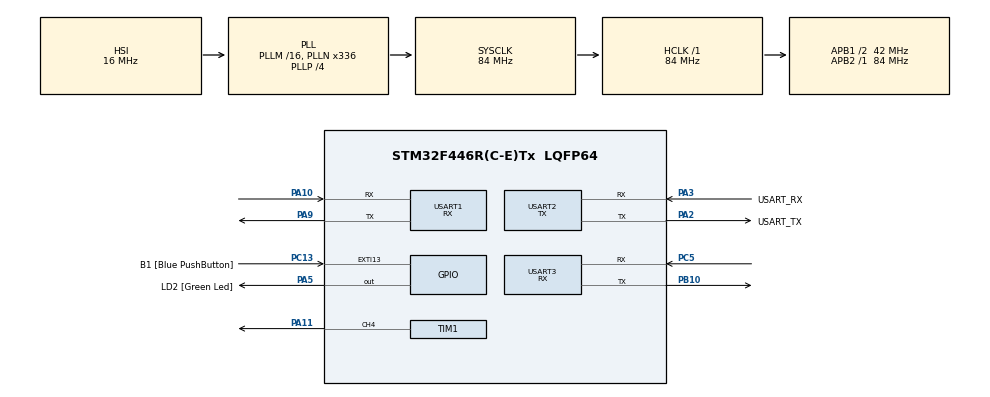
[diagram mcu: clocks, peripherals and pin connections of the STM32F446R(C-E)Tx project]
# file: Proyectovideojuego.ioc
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Mcu.Family=STM32F4
Mcu.Name=STM32F446R(C-E)Tx
Mcu.Package=LQFP64
NVIC.PriorityGroup=NVIC_PRIORITYGROUP_0
NVIC.USART3_IRQn=true\:0\:0\:false\:false\:true\:true\:true\:true
PA10.Mode=Asynchronous
PA10.Signal=USART1_RX
PA11.Signal=S_TIM1_CH4
PA13.GPIO_Label=TMS
PA13.Mode=Serial_Wire
PA13.Signal=SYS_JTMS-SWDIO
PA14.GPIO_Label=TCK
PA14.Mode=Serial_Wire
PA14.Signal=SYS_JTCK-SWCLK
PA2.GPIO_Label=USART_TX
PA2.Mode=Asynchronous
PA2.Signal=USART2_TX
PA3.GPIO_Label=USART_RX
PA3.Mode=Asynchronous
PA3.Signal=USART2_RX
PA5.GPIO_Label=LD2 [Green Led]
PA5.Signal=GPIO_Output
PA9.Mode=Asynchronous
PA9.Signal=USART1_TX
PB10.Mode=Asynchronous
PB10.Signal=USART3_TX
PB3.GPIO_Label=SWO
PB3.Signal=SYS_JTDO-SWO
PC13.GPIO_Label=B1 [Blue PushButton]
PC13.GPIO_ModeDefaultEXTI=GPIO_MODE_IT_FALLING
PC13.Signal=GPXTI13
PC14-OSC32_IN.Mode=LSE-External-Oscillator
PC14-OSC32_IN.Signal=RCC_OSC32_IN
PC15-OSC32_OUT.Mode=LSE-External-Oscillator
PC15-OSC32_OUT.Signal=RCC_OSC32_OUT
PC5.Mode=Asynchronous
PC5.Signal=USART3_RX
PH0-OSC_IN.Mode=HSE-External-Oscillator
PH0-OSC_IN.Signal=RCC_OSC_IN
PH1-OSC_OUT.Mode=HSE-External-Oscillator
PH1-OSC_OUT.Signal=RCC_OSC_OUT
ProjectManager.HeapSize=0x200
ProjectManager.StackSize=0x400
ProjectManager.TargetToolchain=STM32CubeIDE
RCC.48MHZClocksFreq_Value=84000000
RCC.AHBFreq_Value=84000000
RCC.APB1CLKDivider=RCC_HCLK_DIV2
RCC.APB1Freq_Value=42000000
RCC.APB1TimFreq_Value=84000000
RCC.APB2Freq_Value=84000000
RCC.APB2TimFreq_Value=84000000
RCC.CortexFreq_Value=84000000
RCC.FLatency-AdvancedSettings=FLASH_LATENCY_2
RCC.HCLKFreq_Value=84000000
RCC.HSE_VALUE=8000000
RCC.HSI_VALUE=16000000
RCC.PLLN=336
RCC.PLLP=RCC_PLLP_DIV4
RCC.SYSCLKFreq_VALUE=84000000
RCC.SYSCLKSource=RCC_SYSCLKSOURCE_PLLCLK
RCC.USBFreq_Value=168000000
RCC.VCOOutputFreq_Value=336000000
SH.S_TIM1_CH4.0=TIM1_CH4,PWM Generation4 CH4
TIM1.Channel-PWM\ Generation4\ CH4=TIM_CHANNEL_4
TIM1.Period=100-1
USART1.Mode=MODE_RX
USART1.OverSampling=UART_OVERSAMPLING_8
USART1.VirtualMode=VM_ASYNC
USART2.Mode=MODE_TX
USART2.OverSampling=UART_OVERSAMPLING_8
USART2.VirtualMode=VM_ASYNC
USART3.Mode=MODE_RX
USART3.OverSampling=UART_OVERSAMPLING_8
USART3.VirtualMode=VM_ASYNC
VP_TIM1_VS_ClockSourceINT.Mode=Internal
board=NUCLEO-F446RE

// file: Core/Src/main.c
/* USER CODE BEGIN Header */
/**
  ******************************************************************************
  * @file           : main.c
  * @brief          : Main program body
  ******************************************************************************
  * @attention
  *
  * Copyright (c) 2026 STMicroelectronics.
  * All rights reserved.
  *
  * This software is licensed under terms that can be found in the LICENSE file
  * in the root directory of this software component.
  * If no LICENSE file comes with this software, it is provided AS-IS.
  *
  ******************************************************************************
  */
/* USER CODE END Header */
#include "main.h"

/* USER CODE BEGIN Includes */
#include "stdint.h"
#include <string.h>
#include <stdio.h>
#include <pitches.h>
/* USER CODE END Includes */

/* USER CODE BEGIN PD */
#define TIM_FREQ 84000000
#define Autoreload 100

/* USER CODE END PD */

TIM_HandleTypeDef htim1;

UART_HandleTypeDef huart1;
UART_HandleTypeDef huart2;
UART_HandleTypeDef huart3;

/* USER CODE BEGIN PV */
char array[6];
uint8_t control[1];
uint8_t control2[1];
int tones[] = {
    NOTE_G4, NOTE_REST, NOTE_G5, NOTE_REST,
    NOTE_F4, NOTE_REST, NOTE_F5, NOTE_REST,
    NOTE_E4, NOTE_REST, NOTE_E5, NOTE_REST,
    NOTE_D4, NOTE_REST, NOTE_D5, NOTE_REST,
    NOTE_C4, NOTE_REST, NOTE_C5, NOTE_REST,
    NOTE_AS3, NOTE_REST, NOTE_AS4, NOTE_REST,
    NOTE_G3, NOTE_REST, NOTE_G4, NOTE_REST,
    NOTE_G4, NOTE_F4, NOTE_E4, NOTE_D4, NOTE_C4
};

int durations[] = {
    150, 50, 150, 50,
    150, 50, 150, 50,
    150, 50, 150, 50,
    150, 50, 150, 50,
    150, 50, 150, 50,
    150, 50, 150, 50,
    150, 50, 150, 50,
    50, 50, 50, 50, 100
};
int pauses[] = {
    150, 100, 150, 100,
    150, 100, 150, 100,
    150, 100, 150, 100,
    150, 100, 150, 100,
    150, 100, 150, 100,
    150, 100, 150, 100,
    150, 100, 150, 100,
    50, 50, 50, 50, 100
};
int size = sizeof(tones) / sizeof(tones[0]);
/* USER CODE END PV */

void SystemClock_Config(void);
static void MX_GPIO_Init(void);
static void MX_USART2_UART_Init(void);
static void MX_USART3_UART_Init(void);
static void MX_TIM1_Init(void);
static void MX_USART1_UART_Init(void);
/* USER CODE BEGIN PFP */
int pressForFrecuency (int frecuency);
void playTone(int *tone, int *durations, int *pause, int size);
void noTone(void);
/* USER CODE END PFP */

/* USER CODE BEGIN 0 */
int pressForFrecuency(int frecuency){
	if (frecuency==0)
		return 0;
	return ((TIM_FREQ/(Autoreload*frecuency))-1);
}

void playTone(int *tone, int *durations, int *pause, int size){
	for (int i=0; i<size; i++){
		int prescaler =pressForFrecuency(tone[i]);
		int dur= durations[i];
		int PausebetNotes=0;
		if (pause != NULL)
			PausebetNotes=pause[i]-durations[i];
		__HAL_TIM_SET_PRESCALER(&htim1, prescaler);
		HAL_Delay(dur);
		noTone();
		HAL_Delay(PausebetNotes);
	}
}

void noTone(void){
	__HAL_TIM_SET_PRESCALER(&htim1, 0);
}

/* USER CODE END 0 */

int main(void)
{

  /* MCU Configuration--------------------------------------------------------*/

  /* Reset of all peripherals, Initializes the Flash interface and the Systick. */
  HAL_Init();

  /* Configure the system clock */
  SystemClock_Config();

  /* Initialize all configured peripherals */
  MX_GPIO_Init();
  MX_USART2_UART_Init();
  MX_USART3_UART_Init();
  MX_TIM1_Init();
  MX_USART1_UART_Init();
  /* USER CODE BEGIN 2 */
  HAL_UART_Receive_IT(&huart3, control, 1);
  HAL_UART_Receive_IT(&huart1, control2, 1);
  uint8_t test[]= "aa\r\n";
  HAL_UART_Transmit(&huart2, test, sizeof(test), HAL_MAX_DELAY);
  //HAL_TIM_PWM_Start(&htim1, TIM_CHANNEL_4);
  //playTone(tones, durations, NULL,  sizeof(tones)/sizeof(int));
  /* USER CODE END 2 */

  /* Infinite loop */
  while (1)
  {

  }
}

void SystemClock_Config(void)
{
  RCC_OscInitTypeDef RCC_OscInitStruct = {0};
  RCC_ClkInitTypeDef RCC_ClkInitStruct = {0};

  /** Configure the main internal regulator output voltage
  */
  __HAL_RCC_PWR_CLK_ENABLE();
  __HAL_PWR_VOLTAGESCALING_CONFIG(PWR_REGULATOR_VOLTAGE_SCALE3);

  /** Initializes the RCC Oscillators according to the specified parameters
  * in the RCC_OscInitTypeDef structure.
  */
  RCC_OscInitStruct.OscillatorType = RCC_OSCILLATORTYPE_HSI;
  RCC_OscInitStruct.HSIState = RCC_HSI_ON;
  RCC_OscInitStruct.HSICalibrationValue = RCC_HSICALIBRATION_DEFAULT;
  RCC_OscInitStruct.PLL.PLLState = RCC_PLL_ON;
  RCC_OscInitStruct.PLL.PLLSource = RCC_PLLSOURCE_HSI;
  RCC_OscInitStruct.PLL.PLLM = 16;
  RCC_OscInitStruct.PLL.PLLN = 336;
  RCC_OscInitStruct.PLL.PLLP = RCC_PLLP_DIV4;
  RCC_OscInitStruct.PLL.PLLQ = 2;
  RCC_OscInitStruct.PLL.PLLR = 2;
  if (HAL_RCC_OscConfig(&RCC_OscInitStruct) != HAL_OK)
  {
    Error_Handler();
  }

  /** Initializes the CPU, AHB and APB buses clocks
  */
  RCC_ClkInitStruct.ClockType = RCC_CLOCKTYPE_HCLK|RCC_CLOCKTYPE_SYSCLK
                              |RCC_CLOCKTYPE_PCLK1|RCC_CLOCKTYPE_PCLK2;
  RCC_ClkInitStruct.SYSCLKSource = RCC_SYSCLKSOURCE_PLLCLK;
  RCC_ClkInitStruct.AHBCLKDivider = RCC_SYSCLK_DIV1;
  RCC_ClkInitStruct.APB1CLKDivider = RCC_HCLK_DIV2;
  RCC_ClkInitStruct.APB2CLKDivider = RCC_HCLK_DIV1;

  if (HAL_RCC_ClockConfig(&RCC_ClkInitStruct, FLASH_LATENCY_2) != HAL_OK)
  {
    Error_Handler();
  }
}

static void MX_TIM1_Init(void)
{

  TIM_ClockConfigTypeDef sClockSourceConfig = {0};
  TIM_MasterConfigTypeDef sMasterConfig = {0};
  TIM_OC_InitTypeDef sConfigOC = {0};
  TIM_BreakDeadTimeConfigTypeDef sBreakDeadTimeConfig = {0};

  htim1.Instance = TIM1;
  htim1.Init.Prescaler = 0;
  htim1.Init.CounterMode = TIM_COUNTERMODE_UP;
  htim1.Init.Period = 100-1;
  htim1.Init.ClockDivision = TIM_CLOCKDIVISION_DIV1;
  htim1.Init.RepetitionCounter = 0;
  htim1.Init.AutoReloadPreload = TIM_AUTORELOAD_PRELOAD_DISABLE;
  if (HAL_TIM_Base_Init(&htim1) != HAL_OK)
  {
    Error_Handler();
  }
  sClockSourceConfig.ClockSource = TIM_CLOCKSOURCE_INTERNAL;
  if (HAL_TIM_ConfigClockSource(&htim1, &sClockSourceConfig) != HAL_OK)
  {
    Error_Handler();
  }
  if (HAL_TIM_PWM_Init(&htim1) != HAL_OK)
  {
    Error_Handler();
  }
  sMasterConfig.MasterOutputTrigger = TIM_TRGO_RESET;
  sMasterConfig.MasterSlaveMode = TIM_MASTERSLAVEMODE_DISABLE;
  if (HAL_TIMEx_MasterConfigSynchronization(&htim1, &sMasterConfig) != HAL_OK)
  {
    Error_Handler();
  }
  sConfigOC.OCMode = TIM_OCMODE_PWM1;
  sConfigOC.Pulse = 0;
  sConfigOC.OCPolarity = TIM_OCPOLARITY_HIGH;
  sConfigOC.OCFastMode = TIM_OCFAST_DISABLE;
  sConfigOC.OCIdleState = TIM_OCIDLESTATE_RESET;
  sConfigOC.OCNIdleState = TIM_OCNIDLESTATE_RESET;
  if (HAL_TIM_PWM_ConfigChannel(&htim1, &sConfigOC, TIM_CHANNEL_4) != HAL_OK)
  {
    Error_Handler();
  }
  sBreakDeadTimeConfig.OffStateRunMode = TIM_OSSR_DISABLE;
  sBreakDeadTimeConfig.OffStateIDLEMode = TIM_OSSI_DISABLE;
  sBreakDeadTimeConfig.LockLevel = TIM_LOCKLEVEL_OFF;
  sBreakDeadTimeConfig.DeadTime = 0;
  sBreakDeadTimeConfig.BreakState = TIM_BREAK_DISABLE;
  sBreakDeadTimeConfig.BreakPolarity = TIM_BREAKPOLARITY_HIGH;
  sBreakDeadTimeConfig.AutomaticOutput = TIM_AUTOMATICOUTPUT_DISABLE;
  if (HAL_TIMEx_ConfigBreakDeadTime(&htim1, &sBreakDeadTimeConfig) != HAL_OK)
  {
    Error_Handler();
  }
  HAL_TIM_MspPostInit(&htim1);

}

static void MX_USART1_UART_Init(void)
{

  huart1.Instance = USART1;
  huart1.Init.BaudRate = 115200;
  huart1.Init.WordLength = UART_WORDLENGTH_8B;
  huart1.Init.StopBits = UART_STOPBITS_1;
  huart1.Init.Parity = UART_PARITY_NONE;
  huart1.Init.Mode = UART_MODE_RX;
  huart1.Init.HwFlowCtl = UART_HWCONTROL_NONE;
  huart1.Init.OverSampling = UART_OVERSAMPLING_8;
  if (HAL_UART_Init(&huart1) != HAL_OK)
  {
    Error_Handler();
  }

}

static void MX_USART2_UART_Init(void)
{

  huart2.Instance = USART2;
  huart2.Init.BaudRate = 115200;
  huart2.Init.WordLength = UART_WORDLENGTH_8B;
  huart2.Init.StopBits = UART_STOPBITS_1;
  huart2.Init.Parity = UART_PARITY_NONE;
  huart2.Init.Mode = UART_MODE_TX;
  huart2.Init.HwFlowCtl = UART_HWCONTROL_NONE;
  huart2.Init.OverSampling = UART_OVERSAMPLING_8;
  if (HAL_UART_Init(&huart2) != HAL_OK)
  {
    Error_Handler();
  }

}

static void MX_USART3_UART_Init(void)
{

  huart3.Instance = USART3;
  huart3.Init.BaudRate = 115200;
  huart3.Init.WordLength = UART_WORDLENGTH_8B;
  huart3.Init.StopBits = UART_STOPBITS_1;
  huart3.Init.Parity = UART_PARITY_NONE;
  huart3.Init.Mode = UART_MODE_RX;
  huart3.Init.HwFlowCtl = UART_HWCONTROL_NONE;
  huart3.Init.OverSampling = UART_OVERSAMPLING_8;
  if (HAL_UART_Init(&huart3) != HAL_OK)
  {
    Error_Handler();
  }

}

static void MX_GPIO_Init(void)
{
  GPIO_InitTypeDef GPIO_InitStruct = {0};

  /* GPIO Ports Clock Enable */
  __HAL_RCC_GPIOC_CLK_ENABLE();
  __HAL_RCC_GPIOH_CLK_ENABLE();
  __HAL_RCC_GPIOA_CLK_ENABLE();
  __HAL_RCC_GPIOB_CLK_ENABLE();

  /*Configure GPIO pin Output Level */
  HAL_GPIO_WritePin(LD2_GPIO_Port, LD2_Pin, GPIO_PIN_RESET);

  /*Configure GPIO pin : B1_Pin */
  GPIO_InitStruct.Pin = B1_Pin;
  GPIO_InitStruct.Mode = GPIO_MODE_IT_FALLING;
  GPIO_InitStruct.Pull = GPIO_NOPULL;
  HAL_GPIO_Init(B1_GPIO_Port, &GPIO_InitStruct);

  /*Configure GPIO pin : LD2_Pin */
  GPIO_InitStruct.Pin = LD2_Pin;
  GPIO_InitStruct.Mode = GPIO_MODE_OUTPUT_PP;
  GPIO_InitStruct.Pull = GPIO_NOPULL;
  GPIO_InitStruct.Speed = GPIO_SPEED_FREQ_LOW;
  HAL_GPIO_Init(LD2_GPIO_Port, &GPIO_InitStruct);

}

/* USER CODE BEGIN 4 */
void HAL_UART_RxCpltCallback(UART_HandleTypeDef *huart){

	switch (control[0]){
			case 'u':{
				uint8_t text[]= "Boton Arriba\r\n";
				HAL_UART_Transmit(&huart2, text, sizeof(text), HAL_MAX_DELAY);
				break;
			}
			case 'd':{
				uint8_t text[]= "Boton Abajo\r\n";
				HAL_UART_Transmit(&huart2, text, sizeof(text), HAL_MAX_DELAY);
				break;}
			case 'r':{
				uint8_t text[]= "Boton derecho\r\n";
				HAL_UART_Transmit(&huart2, text, sizeof(text), HAL_MAX_DELAY);
				break;}
			case 'l':{
				uint8_t text[]= "Boton Izquierdo\r\n";
				HAL_UART_Transmit(&huart2, text, sizeof(text), HAL_MAX_DELAY);
				break;}
			case 's':{
				uint8_t text[]= "Parar\r\n";
				HAL_UART_Transmit(&huart2, text, sizeof(text), HAL_MAX_DELAY);
				break;}
			default:{

				 break;
			}

	}
	HAL_UART_Receive_IT(&huart3, control, 1);
}

/* USER CODE END 4 */

void Error_Handler(void)
{
  __disable_irq();
  while (1)
  {
  }
}
